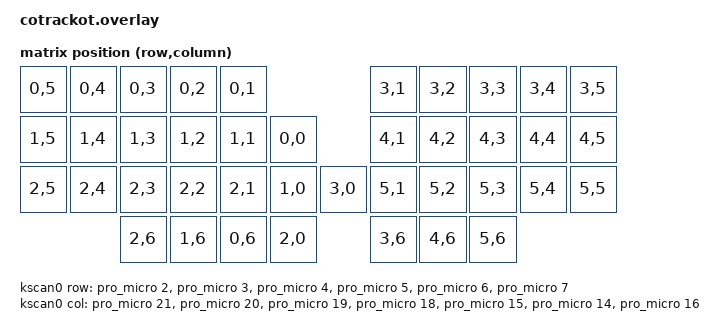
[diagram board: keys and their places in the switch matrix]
/*
 * Copyright (c) 2022 The ZMK Contributors
 *
 * SPDX-License-Identifier: MIT
 */

#include <dt-bindings/zmk/matrix_transform.h>
#include "cotrackot-layouts.dtsi"

/ {
    chosen {
        zmk,kscan = &kscan0;
        zmk,physical-layout = &physical_layout0;
    };

    default_transform: keymap_transform0 {
        compatible = "zmk,matrix-transform";
        columns = <7>; // Length of the "col-gpios" array — starts at 0
        rows = <6>; // Length of the "row-gpios" array — starts at 0
        map = <
    RC(0,5) RC(0,4) RC(0,3) RC(0,2) RC(0,1)                     RC(3,1) RC(3,2) RC(3,3) RC(3,4) RC(3,5)
    RC(1,5) RC(1,4) RC(1,3) RC(1,2) RC(1,1)       RC(0,0)       RC(4,1) RC(4,2) RC(4,3) RC(4,4) RC(4,5)
    RC(2,5) RC(2,4) RC(2,3) RC(2,2) RC(2,1)   RC(1,0) RC(3,0)   RC(5,1) RC(5,2) RC(5,3) RC(5,4) RC(5,5)
                    RC(2,6) RC(1,6) RC(0,6)       RC(2,0)       RC(3,6) RC(4,6) RC(5,6)
        >;
    };
    
    kscan0: kscan_0 {
        compatible = "zmk,kscan-gpio-matrix";
        diode-direction = "col2row";
        wakeup-source;

        row-gpios
            = <&pro_micro 2 (GPIO_ACTIVE_HIGH | GPIO_PULL_DOWN)>
            , <&pro_micro 3 (GPIO_ACTIVE_HIGH | GPIO_PULL_DOWN)>
            , <&pro_micro 4 (GPIO_ACTIVE_HIGH | GPIO_PULL_DOWN)>
            , <&pro_micro 5 (GPIO_ACTIVE_HIGH | GPIO_PULL_DOWN)>
            , <&pro_micro 6 (GPIO_ACTIVE_HIGH | GPIO_PULL_DOWN)>
            , <&pro_micro 7 (GPIO_ACTIVE_HIGH | GPIO_PULL_DOWN)>
            ;

        col-gpios
            = <&pro_micro 21 GPIO_ACTIVE_HIGH>
            , <&pro_micro 20 GPIO_ACTIVE_HIGH>
            , <&pro_micro 19 GPIO_ACTIVE_HIGH>
            , <&pro_micro 18 GPIO_ACTIVE_HIGH>
            , <&pro_micro 15 GPIO_ACTIVE_HIGH>
            , <&pro_micro 14 GPIO_ACTIVE_HIGH>
            , <&pro_micro 16 GPIO_ACTIVE_HIGH>
            ;

        
    }; 
};

&physical_layout0 {
    transform = <&default_transform>;
};

#define MOUSE_PS2_DRIVER_UART

#define MOUSE_PS2_PIN_SCL_PRO_MICRO <&pro_micro 1 GPIO_ACTIVE_HIGH>
#define MOUSE_PS2_PIN_SDA_PRO_MICRO <&pro_micro 0 GPIO_ACTIVE_HIGH>
#define MOUSE_PS2_PIN_RST_PRO_MICRO <&pro_micro 9 GPIO_ACTIVE_HIGH>

#define MOUSE_PS2_PIN_SDA_PINCTRL <NRF_PSEL(UART_RX, 0, 8)>

#define MOUSE_PS2_UART_BAUD_RATE <14400>

#define MOUSE_PS2_PIN_UNEXPOSED_TX <NRF_PSEL(UART_TX, 0, 27)>
#define MOUSE_PS2_PIN_UNEXPOSED_RX <NRF_PSEL(UART_RX, 0, 28)>

&gpiote {
    interrupts = < 6 0 >;
};

&clock {
    interrupts = < 0 3 >;
};

&power {
    interrupts = < 0 3 >;
};

&radio {
    interrupts = < 1 3 >;
};

&uart0 {
    interrupts = < 2 3 >;
};

&i2c0 {
    interrupts = < 3 3 >;
};

&spi0 {
    interrupts = < 3 3 >;
};

&i2c1 {
    interrupts = < 4 3 >;
};

&spi1 {
    interrupts = < 4 3 >;
};

&nfct {
    interrupts = < 5 3 >;
};

&adc {
    interrupts = < 7 3 >;
};

&timer0 {
    interrupts = < 8 3 >;
};

&timer1 {
    interrupts = < 9 3 >;
};

&timer2 {
    interrupts = < 10 3 >;
};

&rtc0 {
    interrupts = < 11 3 >;
};

&temp {
    interrupts = < 12 3 >;
};

&rng {
    interrupts = < 13 3 >;
};

&ecb {
    interrupts = < 14 3 >;
};

&ccm {
    interrupts = < 15 3 >;
};

&wdt {
    interrupts = < 16 3 >;
};

&rtc1 {
    interrupts = < 17 3 >;
};

&qdec {
    interrupts = < 18 3 >;
};

&comp {
    interrupts = < 19 3 >;
};

&egu0 {
    interrupts = < 20 3 >;
};

&egu1 {
    interrupts = < 21 3 >;
};

&egu2 {
    interrupts = < 22 3 >;
};

&egu3 {
    interrupts = < 23 3 >;
};

&egu4 {
    interrupts = < 24 3 >;
};

&egu5 {
    interrupts = < 25 3 >;
};

&timer3 {
    interrupts = < 26 3 >;
};

&timer4 {
    interrupts = < 27 3 >;
};

&pwm0 {
    interrupts = < 28 3 >;
};

&pdm0 {
    interrupts = < 29 3 >;
};

&pwm1 {
    interrupts = < 33 3 >;
};

&pwm2 {
    interrupts = < 34 3 >;
};

&spi2 {
    interrupts = < 35 3 >;
};

&rtc2 {
    interrupts = < 36 3 >;
};

&i2s0 {
    interrupts = < 37 3 >;
};

&usbd {
    interrupts = < 39 3 >;
};

&uart1 {
    interrupts = < 40 3 >;
};

&qspi {
    interrupts = < 41 3 >;
};

&pwm3 {
    interrupts = < 45 3 >;
};

&spi3 {
    interrupts = < 47 3 >;
};

&cryptocell {
    interrupts = < 42 3 >;
};


#ifdef MOUSE_PS2_ALT_PINS
    #undef MOUSE_PS2_PIN_SCL_PRO_MICRO
    #undef MOUSE_PS2_PIN_SDA_PRO_MICRO
    #undef MOUSE_PS2_PIN_SDA_PINCTRL

    #define MOUSE_PS2_PIN_SCL_PRO_MICRO <&pro_micro 1 GPIO_ACTIVE_HIGH>
    #define MOUSE_PS2_PIN_SDA_PRO_MICRO <&pro_micro 0 GPIO_ACTIVE_HIGH>
    #define MOUSE_PS2_PIN_SDA_PINCTRL <NRF_PSEL(UART_RX, 0, 8)>
#endif

#define MOUSE_PS2_DT_PRESENT

&pinctrl {
	// This pinctrl state is used for receiving
	// For `UART_TX`, set an unused and unexposed pin
	// For `UART_RX`, set the PS/2 SDA pin number
	uart0_ps2_default: uart0_ps2_default {
		group1 {
			psels = MOUSE_PS2_PIN_UNEXPOSED_TX,
					MOUSE_PS2_PIN_SDA_PINCTRL;
		};
	};

	// Set this to the same pins as uart0_ps2_default
	uart0_ps2_sleep: uart0_ps2_sleep {
		group1 {
			psels = MOUSE_PS2_PIN_UNEXPOSED_TX,
					MOUSE_PS2_PIN_SDA_PINCTRL;
			low-power-enable;
		};
	};

	// The nrf52 UART controller is not compatible with the PS/2
	// transmission frame. So the PS/2 UART driver doesn't use UART for
	// transmissions and instead use GPIO bit-banging.
	//
	// When the driver switches to transmit mode, it frees up the SDA pin by
    // switching the UART controller to unexposed/unused pins.
	//
	// Then it configures the GPIO controller to use the SCL and SDA pins
	uart0_ps2_off: uart0_ps2_off {
		group1 {
			psels = MOUSE_PS2_PIN_UNEXPOSED_TX,
					MOUSE_PS2_PIN_UNEXPOSED_RX;
		};
	};
};


#ifdef MOUSE_PS2_DRIVER_UART

    &uart0 {
        compatible = "nordic,nrf-uarte";

        current-speed = MOUSE_PS2_UART_BAUD_RATE;
        pinctrl-0 = <&uart0_ps2_default>;
        pinctrl-1 = <&uart0_ps2_off>;

        pinctrl-names = "default", "sleep";

        uart_ps2: uart_ps2 {
            compatible = "uart-ps2";
            scl-gpios = MOUSE_PS2_PIN_SCL_PRO_MICRO;
            sda-gpios = MOUSE_PS2_PIN_SDA_PRO_MICRO;
        };
    };

#else

    / {
        gpio_ps2: gpio_ps2 {
            status = "disabled";
            
            compatible = "gpio-ps2";
            scl-gpios = MOUSE_PS2_PIN_SCL_PRO_MICRO;
            sda-gpios = MOUSE_PS2_PIN_SDA_PRO_MICRO;
        };
    };

#endif


/ {
    mouse_ps2: mouse_ps2 {
        compatible = "zmk,input-mouse-ps2";

#ifdef MOUSE_PS2_DRIVER_UART
	    ps2-device = <&uart_ps2>;
#else
	    ps2-device = <&gpio_ps2>;
#endif

#ifdef MOUSE_PS2_PIN_RST_PRO_MICRO
        rst-gpios = MOUSE_PS2_PIN_RST_PRO_MICRO;
#endif
    };
};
